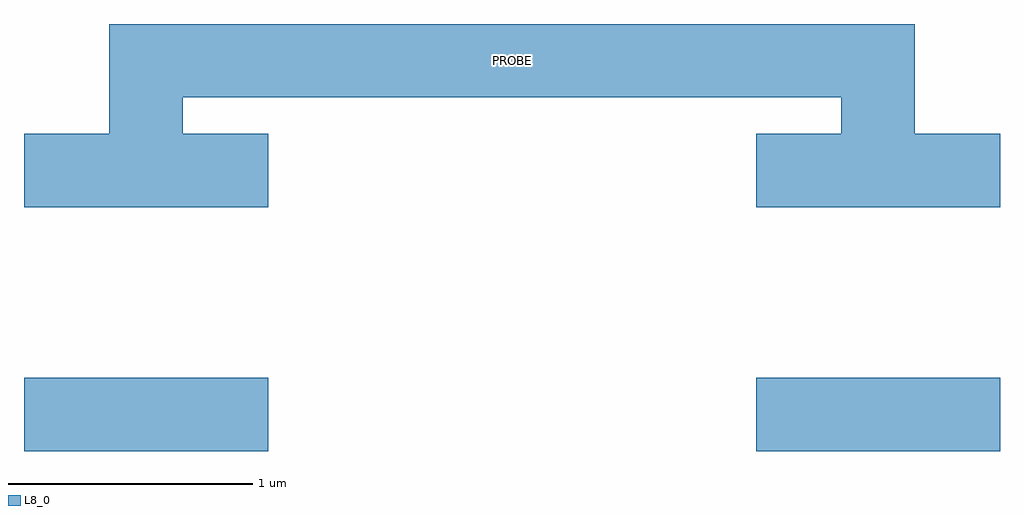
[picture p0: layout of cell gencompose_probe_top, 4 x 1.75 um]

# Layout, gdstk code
import gdstk
lib = gdstk.Library(unit=1e-6, precision=1e-09)
def R(c, l, rs):  # rectangles x0, y0, x1, y1
    for r in rs: c.add(gdstk.rectangle(r[:2], r[2:], *l))
L8_0 = (8, 0)

a__gencompose_probe = lib.new_cell('a__gencompose_probe')
R(a__gencompose_probe, L8_0, [(0,0,1,0.3), (0,1,1,1.3)])

b__gencompose_probe = lib.new_cell('b__gencompose_probe')
R(b__gencompose_probe, L8_0, [(0,0,1,0.3), (0,1,1,1.3)])

gencompose_probe_top = lib.new_cell('gencompose_probe_top')
gencompose_probe_top.add(gdstk.FlexPath([(0.5,1.15),(0.5,1.6),(3.5,1.6),(3.5,1.15)], 0.3, ends="flush", simple_path=True, layer=8, datatype=0))  # L8_0
gencompose_probe_top.add(gdstk.Reference(a__gencompose_probe, (0,0)))
gencompose_probe_top.add(gdstk.Reference(b__gencompose_probe, (3,0)))
gencompose_probe_top.add(gdstk.Label('PROBE', (2,1.6), layer=8, texttype=2))

lib.write_gds('gencompose_probe_top.gds')
